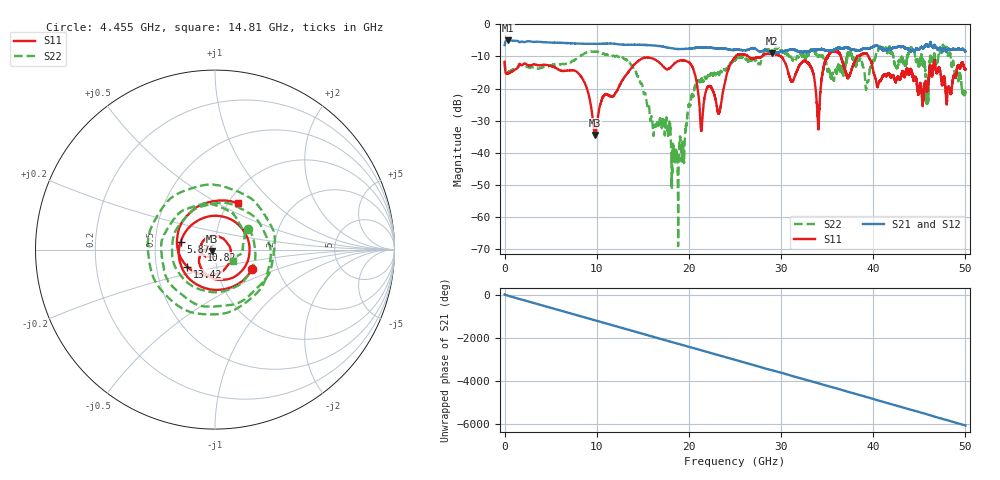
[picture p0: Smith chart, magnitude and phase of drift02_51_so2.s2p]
!Created with skrf (http://scikit-rf.org).
# Hz S RI R 50.0
!freq ReS11 ImS11 ReS21 ImS21 ReS12 ImS12 ReS22 ImS22
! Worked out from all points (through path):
!   10001 points, 300 kHz to 50 GHz, reference 50 ohm
!   highest |S21| = -5.04 dB at 325.3 MHz (marker M1); lowest = -9.0 dB at 29.05 GHz (marker M2)
!   group delay of S21, straight-line fit = 336 ps
!   lowest |S11| = -34.4 dB at 9.83 GHz (marker M3), VSWR 1.04, Z = 48.4 - j0.977 ohm
!   |S11| at or under -10 dB: start of sweep to 25.06 GHz; 29.97 GHz to 35.06 GHz (5.09 GHz wide, 15.7 % of centre); 39.48 GHz to end of sweep (the widest 3 of 10)
!   |S22| runs from -69.0 to -6.4 dB; largest |S21 - S12| = 0.022
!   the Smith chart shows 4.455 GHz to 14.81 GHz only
!   S11 on the Smith chart (normalised r, x): 4.455 GHz: 1.48, -0.33; 5.875 GHz: 0.68, +0.06; 10.82 GHz: 0.85, +0.00; 13.42 GHz: 0.72, -0.14; 14.81 GHz: 1.11, +0.62
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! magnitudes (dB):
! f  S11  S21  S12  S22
! 300 kHz  -11.6  -6.5  -6.4  -11.5
! 325.3 MHz  -15.4  -5.0  -5.0  -15.0
! 4.455 GHz  -12.6  -5.6  -5.6  -13.3
! 5.875 GHz  -14.1  -5.7  -5.7  -12.5
! 8.335 GHz  -16.4  -6.0  -6.0  -9.6
! 9.83 GHz  -34.4  -6.1  -6.1  -8.5
! 10.82 GHz  -22.1  -6.0  -6.0  -9.2
! 13.42 GHz  -14.9  -6.4  -6.4  -11.6
! 14.81 GHz  -10.8  -6.4  -6.4  -18.5
! 16.67 GHz  -11.6  -6.7  -6.7  -31.0
! 18.67 GHz  -11.7  -7.7  -7.7  -40.3
! 20.37 GHz  -13.3  -7.5  -7.4  -21.8
! 21.37 GHz  -32.2  -7.2  -7.2  -16.9
! 25 GHz  -10.3  -8.0  -8.0  -11.2
! 29.05 GHz  -9.1  -9.0  -9.0  -8.2
! 33.34 GHz  -13.9  -8.1  -8.1  -8.2
! 34.02 GHz  -32.0  -7.9  -7.9  -10.1
! 35.54 GHz  -8.4  -8.1  -8.1  -15.2
! 41.67 GHz  -15.3  -7.7  -7.8  -7.3
! 45.87 GHz  -20.4  -6.9  -6.9  -24.3
! 47.75 GHz  -16.8  -7.4  -7.4  -7.9
! 50 GHz  -14.1  -8.4  -8.4  -20.9
